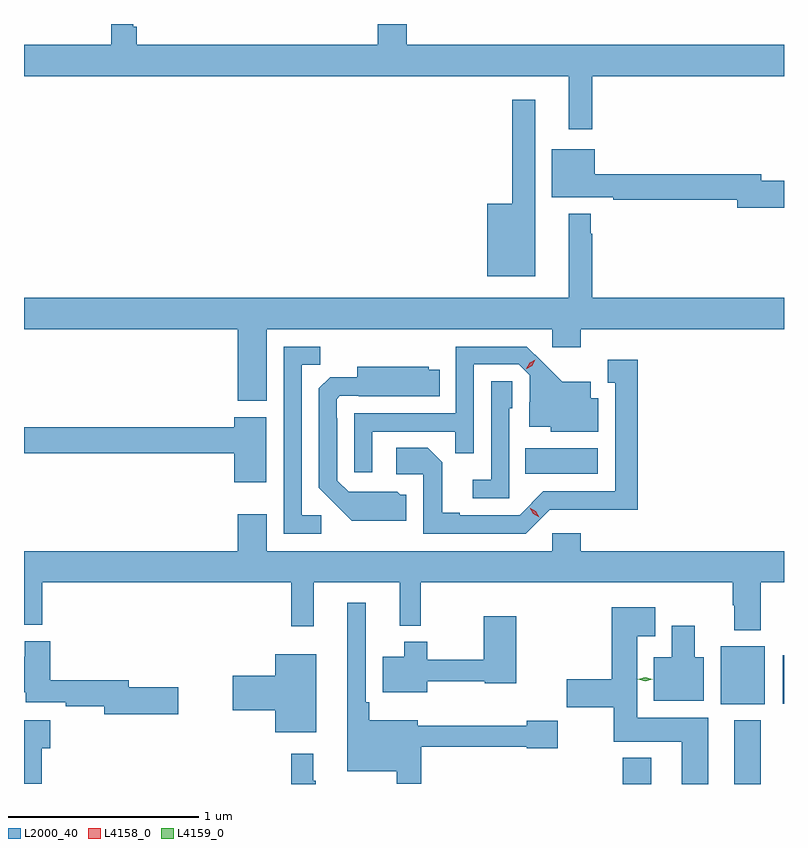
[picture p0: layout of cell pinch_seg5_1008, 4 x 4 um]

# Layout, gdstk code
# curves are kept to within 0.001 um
import gdstk
lib = gdstk.Library(unit=1e-6, precision=1e-09)
def R(c, l, rs):  # rectangles x0, y0, x1, y1
    for r in rs: c.add(gdstk.rectangle(r[:2], r[2:], *l))
def P(c, l, *ps):  # polygons
    for p in ps: c.add(gdstk.Polygon(p, *l))
L2000_40 = (2000, 40)
L4158_0 = (4158, 0)
L4159_0 = (4159, 0)

pinch_seg5_1008 = lib.new_cell('pinch_seg5_1008')
R(pinch_seg5_1008, L2000_40, [(749.267,839.714,749.419,839.851), (749.855,839.714,749.995,840.049), (749.783,840.134,750.016,840.439), (750.11,840.137,750.117,840.391), (748.756,841.346,749.137,841.48)])
P(pinch_seg5_1008, L2000_40, [(749.107,843.44),(750.117,843.44),(750.117,843.604),(748.132,843.604),(748.132,843.714),(747.98,843.714),(747.98,843.604),(746.711,843.604),(746.711,843.7),(746.691,843.7),(746.691,843.714),(746.575,843.714),(746.575,843.604),(746.117,843.604),(746.117,843.44),(748.985,843.44),(748.985,843.159),(749.107,843.159)],
  [(748.807,843.316),(748.686,843.316),(748.686,842.767),(748.556,842.767),(748.556,842.387),(748.807,842.387)],
  [(750.117,842.888),(749.998,842.888),(749.998,842.924),(749.122,842.924),(749.122,843.055),(748.895,843.055),(748.895,842.801),(749.218,842.801),(749.218,842.788),(749.87,842.788),(749.87,842.746),(750.117,842.746)],
  [(747.394,842.108),(748.896,842.108),(748.896,842.013),(749.048,842.013),(749.048,842.108),(750.117,842.108),(750.117,842.272),(749.107,842.272),(749.107,842.609),(749.1,842.609),(749.1,842.716),(748.985,842.716),(748.985,842.272),(746.117,842.272),(746.117,842.108),(747.242,842.108),(747.242,841.73),(747.394,841.73)],
  [(747.682,841.128),(747.579,841.128),(747.579,841.921),(747.675,841.921),(747.675,842.016),(747.483,842.016),(747.483,841.032),(747.682,841.032)],
  [(747.951,841.569),(748.387,841.569),(748.387,841.456),(748.485,841.456),(748.485,841.923),(748.722,841.923),(748.779,841.866),(748.779,841.724),(748.775,841.724),(748.775,841.595),(748.89,841.595),(748.89,841.568),(749.14,841.568),(749.14,841.744),(749.101,841.744),(749.101,841.831),(748.949,841.831),(748.762,842.016),(748.389,842.016),(748.389,841.665),(747.855,841.665),(747.855,841.356),(747.951,841.356)],
  [(748.884,841.158),(749.347,841.157),(749.347,841.948),(749.189,841.948),(749.189,841.827),(749.228,841.827),(749.228,841.254),(748.851,841.254),(748.725,841.128),(748.411,841.128),(748.411,841.141),(748.317,841.141),(748.317,841.408),(748.241,841.484),(748.077,841.484),(748.077,841.344),(748.218,841.344),(748.218,841.032),(748.758,841.032)],
  [(748.129,841.236),(748.098,841.236),(748.082,841.252),(747.825,841.251),(747.765,841.311),(747.765,841.64),(747.762,841.64),(747.762,841.74),(747.78,841.758),(747.88,841.758),(747.88,841.754),(748.304,841.754),(748.304,841.894),(748.248,841.894),(748.248,841.909),(747.872,841.909),(747.872,841.855),(747.728,841.855),(747.669,841.796),(747.669,841.274),(747.841,841.1),(748.129,841.1)],
  [(748.671,841.692),(748.686,841.692),(748.686,841.835),(748.575,841.835),(748.575,841.315),(748.479,841.315),(748.479,841.218),(748.671,841.218)],
  [(747.391,841.645),(747.224,841.645),(747.224,841.592),(746.117,841.592),(746.117,841.456),(747.224,841.456),(747.224,841.302),(747.391,841.302)],
  [(749.995,840.776),(750.117,840.776),(750.117,840.94),(749.048,840.94),(749.048,841.033),(748.896,841.033),(748.896,840.94),(747.394,840.94),(747.394,841.135),(747.242,841.135),(747.242,840.94),(746.117,840.94),(746.117,840.551),(746.213,840.551),(746.213,840.776),(747.523,840.776),(747.523,840.543),(747.641,840.543),(747.641,840.776),(748.094,840.776),(748.094,840.548),(748.204,840.548),(748.204,840.776),(749.848,840.776),(749.848,840.656),(749.855,840.656),(749.855,840.524),(749.995,840.524)],
  [(748.208,839.91),(748.764,839.91),(748.764,839.902),(748.927,839.902),(748.927,840.046),(748.764,840.046),(748.764,840.021),(748.189,840.021),(748.189,840.049),(747.935,840.049),(747.935,840.145),(747.915,840.145),(747.915,840.667),(747.818,840.667),(747.818,839.78),(748.08,839.78),(748.08,839.715),(748.208,839.715)],
  [(749.719,840.064),(749.344,840.064),(749.344,840.491),(749.44,840.491),(749.44,840.643),(749.21,840.643),(749.21,840.266),(748.974,840.266),(748.974,840.119),(749.222,840.119),(749.222,839.936),(749.579,839.936),(749.579,839.714),(749.719,839.714)],
  [(748.24,840.256),(748.542,840.256),(748.542,840.245),(748.709,840.245),(748.709,840.598),(748.538,840.598),(748.538,840.367),(748.24,840.367),(748.24,840.463),(748.118,840.463),(748.118,840.385),(748.004,840.385),(748.004,840.197),(748.24,840.197)],
  [(749.695,840.382),(749.647,840.382),(749.647,840.547),(749.525,840.547),(749.525,840.382),(749.432,840.382),(749.432,840.152),(749.695,840.152)],
  [(746.929,840.224),(746.668,840.224),(746.668,840.26),(746.255,840.26),(746.255,840.466),(746.12,840.466),(746.12,840.385),(746.117,840.385),(746.117,840.197),(746.126,840.197),(746.126,840.144),(746.338,840.144),(746.338,840.124),(746.54,840.124),(746.54,840.082),(746.929,840.082)],
  [(747.655,840.397),(747.44,840.397),(747.44,840.284),(747.216,840.284),(747.216,840.101),(747.44,840.101),(747.44,839.987),(747.655,839.987)],
  [(746.21,839.902),(746.254,839.902),(746.254,840.049),(746.117,840.049),(746.117,839.715),(746.21,839.715)],
  [(747.652,839.732),(747.64,839.732),(747.64,839.872),(747.523,839.872),(747.523,839.714),(747.652,839.714)])
P(pinch_seg5_1008, L4158_0, [(748.828,841.117),(748.796,841.136),(748.779,841.168),(748.779,841.169),(748.78,841.169),(748.811,841.149),(748.828,841.117),(748.828,841.117)],
  [(748.761,841.9),(748.761,841.9),(748.778,841.93),(748.809,841.946),(748.809,841.946),(748.809,841.946),(748.792,841.916),(748.762,841.9)])
P(pinch_seg5_1008, L4159_0, [(749.388,840.255),(749.348,840.265),(749.348,840.265),(749.348,840.265),(749.387,840.275),(749.427,840.266),(749.427,840.265),(749.427,840.265)])

lib.write_gds('pinch_seg5_1008.gds')
